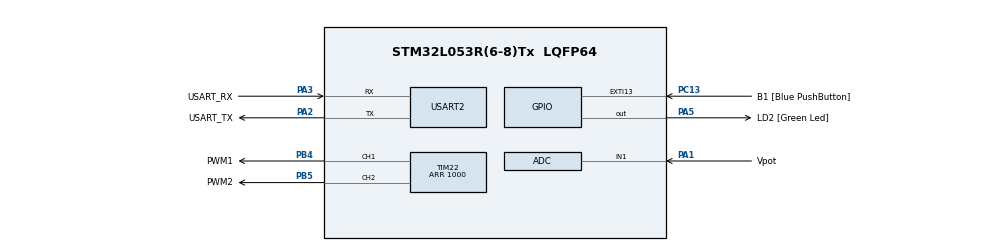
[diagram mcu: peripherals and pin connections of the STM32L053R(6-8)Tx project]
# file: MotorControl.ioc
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ADC.ClockPrescaler=ADC_CLOCK_ASYNC_DIV16
ADC.SamplingTime=ADC_SAMPLETIME_39CYCLES_5
Mcu.Family=STM32L0
Mcu.Name=STM32L053R(6-8)Tx
Mcu.Package=LQFP64
NVIC.USART2_IRQn=true\:0\:0\:false\:false\:true\:true\:true\:true
PA1.GPIO_Label=Vpot
PA1.Mode=IN1
PA1.Signal=ADC_IN1
PA13.GPIO_Label=TMS
PA13.Mode=Serial_Wire
PA13.Signal=SYS_SWDIO
PA14.GPIO_Label=TCK
PA14.Mode=Serial_Wire
PA14.Signal=SYS_SWCLK
PA2.GPIO_Label=USART_TX
PA2.Mode=Asynchronous
PA2.Signal=USART2_TX
PA3.GPIO_Label=USART_RX
PA3.Mode=Asynchronous
PA3.Signal=USART2_RX
PA5.GPIO_Label=LD2 [Green Led]
PA5.Signal=GPIO_Output
PB4.GPIO_Label=PWM1
PB4.Signal=S_TIM22_CH1
PB5.GPIO_Label=PWM2
PB5.Signal=S_TIM22_CH2
PC13.GPIO_Label=B1 [Blue PushButton]
PC13.GPIO_ModeDefaultEXTI=GPIO_MODE_IT_FALLING
PC13.Signal=GPXTI13
PC14-OSC32_IN.Mode=LSE-External-Oscillator
PC14-OSC32_IN.Signal=RCC_OSC32_IN
PC15-OSC32_OUT.Mode=LSE-External-Oscillator
PC15-OSC32_OUT.Signal=RCC_OSC32_OUT
PH0-OSC_IN.Mode=HSE-External-Clock-Source
PH0-OSC_IN.Signal=RCC_OSC_IN
PH1-OSC_OUT.Signal=RCC_OSC_OUT
ProjectManager.HeapSize=0x200
ProjectManager.StackSize=0x400
ProjectManager.TargetToolchain=STM32CubeIDE
RCC.AHBFreq_Value=32000000
RCC.APB1Freq_Value=32000000
RCC.APB1TimFreq_Value=32000000
RCC.APB2Freq_Value=32000000
RCC.APB2TimFreq_Value=32000000
RCC.HCLKFreq_Value=32000000
RCC.HSE_VALUE=8000000
RCC.HSI16_VALUE=16000000
RCC.HSI48_VALUE=48000000
RCC.HSI_VALUE=16000000
RCC.MSI_VALUE=2097000
RCC.PLLMUL=RCC_PLLMUL_8
RCC.PLLSourceVirtual=RCC_PLLSOURCE_HSE
RCC.SYSCLKFreq_VALUE=32000000
RCC.SYSCLKSource=RCC_SYSCLKSOURCE_PLLCLK
RCC.VCOOutputFreq_Value=64000000
SH.S_TIM22_CH1.0=TIM22_CH1,PWM Generation1 CH1
SH.S_TIM22_CH2.0=TIM22_CH2,PWM Generation2 CH2
TIM22.Channel-PWM\ Generation1\ CH1=TIM_CHANNEL_1
TIM22.Channel-PWM\ Generation2\ CH2=TIM_CHANNEL_2
TIM22.OCPolarity_1=TIM_OCPOLARITY_LOW
TIM22.OCPolarity_2=TIM_OCPOLARITY_LOW
TIM22.Period=1000
USART2.VirtualMode-Asynchronous=VM_ASYNC
VP_ADC_Vref_Input.Mode=IN-Vrefint
VP_TIM22_VS_ClockSourceINT.Mode=Internal
board=NUCLEO-L053R8

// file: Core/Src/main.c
/* USER CODE BEGIN Header */
/**
 ******************************************************************************
 * @file           : main.c
 * @brief          : Main program body
 ******************************************************************************
 * @attention
 *
 * <h2><center>&copy; Copyright (c) 2021 STMicroelectronics.
 * All rights reserved.</center></h2>
 *
 * This software component is licensed by ST under BSD 3-Clause license,
 * the "License"; You may not use this file except in compliance with the
 * License. You may obtain a copy of the License at:
 *                        opensource.org/licenses/BSD-3-Clause
 *
 ******************************************************************************
 */

/* USER CODE END Header */
#include "main.h"
#include "adc.h"
#include "tim.h"
#include "usart.h"
#include "gpio.h"

/* USER CODE BEGIN Includes */
#include <stdio.h>
#include <retarget.h>
#include <getch.h>
#include "stm32l0xx_it.h"
/* USER CODE END Includes */

void SystemClock_Config(void);

int main(void)
{
  /* USER CODE BEGIN 1 */
  long nextTimeMs = 0;
  /* USER CODE END 1 */

  /* MCU Configuration--------------------------------------------------------*/

  /* Reset of all peripherals, Initializes the Flash interface and the Systick. */
  LL_APB2_GRP1_EnableClock(LL_APB2_GRP1_PERIPH_SYSCFG);
  LL_APB1_GRP1_EnableClock(LL_APB1_GRP1_PERIPH_PWR);

  /* Configure the system clock */
  SystemClock_Config();

  /* Initialize all configured peripherals */
  MX_GPIO_Init();
  MX_USART2_UART_Init();
  MX_ADC_Init();
  MX_TIM22_Init();
  /* USER CODE BEGIN 2 */
  rxFifoInit();
  RetargetInit(USART2);
  getchInit();
  LL_USART_EnableIT_RXNE(USART2);
  LL_ADC_Enable(ADC1);
//Configuration : 32kHz
// Compteur ==> 0 à 1000
  LL_TIM_OC_SetCompareCH1(TIM22, 0);
  LL_TIM_OC_SetCompareCH2(TIM22, 0);
  LL_TIM_CC_EnableChannel(TIM22, LL_TIM_CHANNEL_CH1); /* Enable output on channel 1*/
  LL_TIM_CC_EnableChannel(TIM22, LL_TIM_CHANNEL_CH2); /* Enable output on channel 2*/
  LL_TIM_EnableCounter(TIM22);

  LL_SYSTICK_EnableIT();
  /* USER CODE END 2 */

  /* Infinite loop */
  /* USER CODE BEGIN WHILE */
  while (1)
  {
//!!!!!!!!!!!!!!!!!!!!!!!!!!!!!!!!!!!!!!!!!!!!!!!!
//!!!!!!!!!! NOT TO BE DELETED   !!!!!!!!!!!!!!!!!
//!!*///Protocol management	//!!!!!!!!!!!!!!!!
    protocolMain();
// !!!!!!!!!! NOT TO BE DELETED (END) !!!!!!!!!!!!
//!!!!!!!!!!!!!!!!!!!!!!!!!!!!!!!!!!!!!!!!!!!!!!!!

    // Application main
    //Every 10 ms
    if (nextTimeMs <= timeMs)
    {
      nextTimeMs += 10;
      mainApp10ms();
    }

  }

    /* USER CODE END WHILE */

}

void SystemClock_Config(void)
{
  LL_FLASH_SetLatency(LL_FLASH_LATENCY_1);
  while(LL_FLASH_GetLatency()!= LL_FLASH_LATENCY_1)
  {
  }
  LL_PWR_SetRegulVoltageScaling(LL_PWR_REGU_VOLTAGE_SCALE1);
  LL_RCC_HSE_EnableBypass();
  LL_RCC_HSE_Enable();

   /* Wait till HSE is ready */
  while(LL_RCC_HSE_IsReady() != 1)
  {

  }
  LL_RCC_HSI_Enable();

   /* Wait till HSI is ready */
  while(LL_RCC_HSI_IsReady() != 1)
  {

  }
  LL_RCC_HSI_SetCalibTrimming(16);
  LL_RCC_PLL_ConfigDomain_SYS(LL_RCC_PLLSOURCE_HSE, LL_RCC_PLL_MUL_8, LL_RCC_PLL_DIV_2);
  LL_RCC_PLL_Enable();

   /* Wait till PLL is ready */
  while(LL_RCC_PLL_IsReady() != 1)
  {

  }
  LL_RCC_SetAHBPrescaler(LL_RCC_SYSCLK_DIV_1);
  LL_RCC_SetAPB1Prescaler(LL_RCC_APB1_DIV_1);
  LL_RCC_SetAPB2Prescaler(LL_RCC_APB2_DIV_1);
  LL_RCC_SetSysClkSource(LL_RCC_SYS_CLKSOURCE_PLL);

   /* Wait till System clock is ready */
  while(LL_RCC_GetSysClkSource() != LL_RCC_SYS_CLKSOURCE_STATUS_PLL)
  {

  }

  LL_Init1msTick(32000000);

  LL_SetSystemCoreClock(32000000);
  LL_RCC_SetUSARTClockSource(LL_RCC_USART2_CLKSOURCE_PCLK1);
}

void Error_Handler(void)
{
__disable_irq();
while (1)
{
}
}
